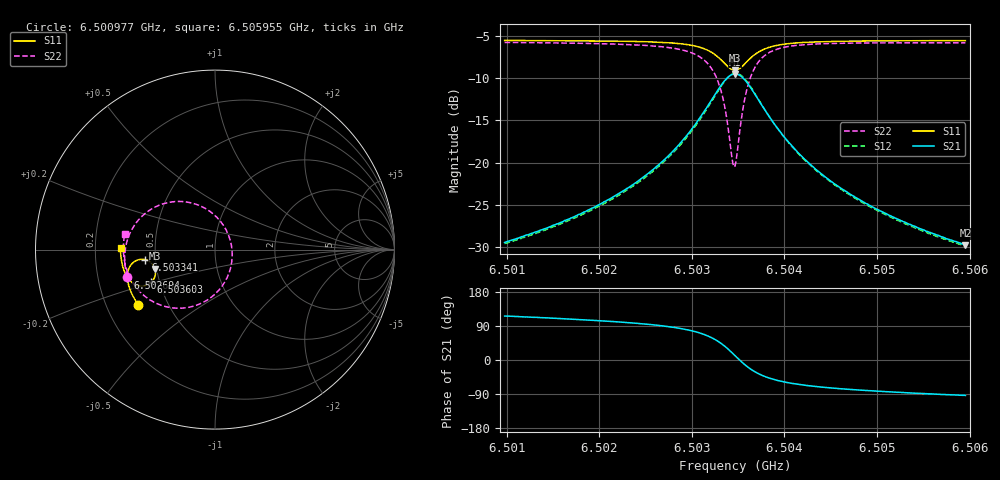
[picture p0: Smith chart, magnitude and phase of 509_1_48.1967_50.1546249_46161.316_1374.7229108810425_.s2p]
#  HZ  S  RI  R  50.00
! Rohde & Schwarz Vector Network Analyzer
! Rohde-Schwarz,ZNB20-2Port,1311601062101988,3.16
! Created: UTC 3/20/2024, 11:58:53 AM
! freq[Hz]  re:S11  im:S11  re:S21  im:S21  re:S12  im:S12  re:S22  im:S22
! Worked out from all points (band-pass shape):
!   401 points, 6.500977 GHz to 6.505955 GHz, reference 50 ohm
!   highest |S21| = -9.51 dB at 6.503466 GHz (marker M1); lowest = -29.7 dB at 6.505955 GHz (marker M2)
!   |S21| within 3 dB of the highest: 6.503217 GHz to 6.503715 GHz (497.9 kHz wide, 0.00766 % of centre)
!   lowest |S11| = -9.1 dB at 6.503466 GHz (marker M3), VSWR 2.08, Z = 24.5 - j5.9 ohm
!   |S11| at or under -10 dB: nowhere
!   |S22| runs from -20.5 to -5.8 dB; largest |S21 - S12| = 0.011
!   S11 on the Smith chart (normalised r, x): 6.500977 GHz: 0.34, -0.29; 6.502694 GHz: 0.33, -0.14; 6.503341 GHz: 0.44, -0.06; 6.503603 GHz: 0.45, -0.19; 6.505955 GHz: 0.31, +0.01
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6.5009769e9  -0.4272 -0.3088  -0.0148 0.0304  -0.0132 0.0306  -0.49 -0.153
6.5018107e9  -0.4629 -0.2471  -0.0142 0.0483  -0.0119 0.0479  -0.5029 -0.064
6.5022587e9  -0.4786 -0.2072  -0.0113 0.0671  -0.00859 0.0662  -0.4999 -0.000402
6.5026445e9  -0.488 -0.1643  -0.00195 0.0977  0.00145 0.0953  -0.4797 0.0772
6.5026943e9  -0.4884 -0.1577  0.000444 0.1032  0.00395 0.1008  -0.4744 0.0897
6.5029556e9  -0.4841 -0.1164  0.0268 0.1447  0.0302 0.1404  -0.4195 0.1729
6.5031423e9  -0.4623 -0.0781  0.0818 0.1872  0.0838 0.1814  -0.3147 0.2458
6.5032543e9  -0.4292 -0.0574  0.1517 0.2048  0.1521 0.1992  -0.1889 0.2681
6.5033414e9  -0.3881 -0.0557  0.2324 0.1885  0.2323 0.1841  -0.05 0.2271
6.5034286e9  -0.3457 -0.0842  0.3101 0.1152  0.3123 0.1115  0.0743 0.0832
6.5034535e9  -0.3376 -0.0982  0.3234 0.0837  0.3266 0.0796  0.0914 0.0241
6.5034659e9  -0.3348 -0.1058  0.3278 0.0671  0.3314 0.0623  0.0952 -0.00701
6.5034908e9  -0.3317 -0.1217  0.3315 0.0328  0.3354 0.0268  0.0932 -0.0696
6.5035281e9  -0.3336 -0.1456  0.3244 -0.0169  0.3281 -0.0249  0.0669 -0.1573
6.5036028e9  -0.3554 -0.1822  0.2788 -0.0926  0.2791 -0.1034  -0.0411 -0.2795
6.5037148e9  -0.4005 -0.2022  0.1929 -0.1378  0.1881 -0.1473  -0.2148 -0.3264
6.5038766e9  -0.4474 -0.1928  0.1098 -0.1345  0.1032 -0.1395  -0.3645 -0.2789
6.5040508e9  -0.4752 -0.1716  0.0646 -0.114  0.0588 -0.1163  -0.4376 -0.2129
6.5042997e9  -0.4962 -0.1416  0.0344 -0.0891  0.0298 -0.0896  -0.4813 -0.1401
6.5046606e9  -0.5114 -0.1035  0.0155 -0.0661  0.0124 -0.0658  -0.5037 -0.067
6.5051335e9  -0.5215 -0.0595  0.00511 -0.0485  0.00292 -0.048  -0.5102 0.000695
6.5059549e9  -0.5264 0.0103  -0.00199 -0.0325  -0.00331 -0.032  -0.5027 0.0882
